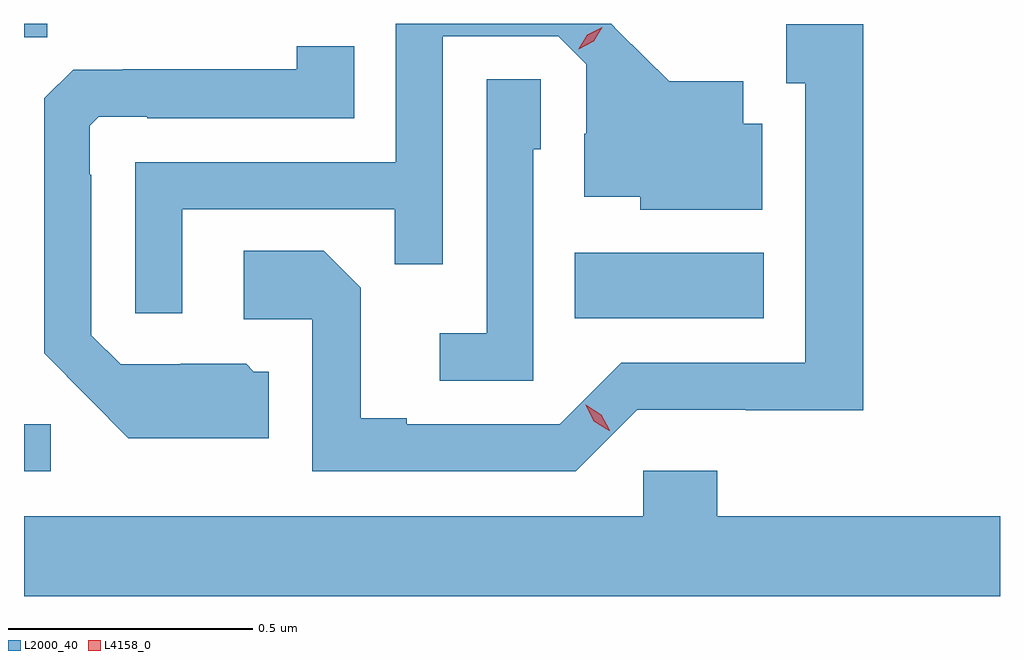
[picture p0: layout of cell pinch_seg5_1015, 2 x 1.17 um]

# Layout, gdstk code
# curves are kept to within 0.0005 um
import gdstk
lib = gdstk.Library(unit=1e-6, precision=1e-09)
def R(c, l, rs):  # rectangles x0, y0, x1, y1
    for r in rs: c.add(gdstk.rectangle(r[:2], r[2:], *l))
def P(c, l, *ps):  # polygons
    for p in ps: c.add(gdstk.Polygon(p, *l))
L2000_40 = (2000, 40)
L4158_0 = (4158, 0)

pinch_seg5_1015 = lib.new_cell('pinch_seg5_1015')
R(pinch_seg5_1015, L2000_40, [(733.419,896.976,733.474,897.072), (734.548,897.29,734.935,897.424), (733.419,897.865,733.467,897.893)])
P(pinch_seg5_1015, L2000_40, [(733.743,897.513),(734.179,897.513),(734.179,897.4),(734.277,897.4),(734.277,897.867),(734.514,897.867),(734.571,897.81),(734.571,897.668),(734.567,897.668),(734.567,897.539),(734.682,897.539),(734.682,897.512),(734.932,897.512),(734.932,897.688),(734.893,897.688),(734.893,897.775),(734.741,897.775),(734.622,897.893),(734.181,897.893),(734.181,897.609),(733.647,897.609),(733.647,897.3),(733.743,897.3)],
  [(734.676,897.102),(734.898,897.102),(734.898,897.101),(735.139,897.101),(735.139,897.892),(734.981,897.892),(734.981,897.771),(735.02,897.771),(735.02,897.198),(734.643,897.198),(734.517,897.072),(734.203,897.072),(734.203,897.085),(734.109,897.085),(734.109,897.352),(734.033,897.428),(733.869,897.428),(733.869,897.288),(734.01,897.288),(734.01,896.976),(734.55,896.976)],
  [(733.921,897.18),(733.89,897.18),(733.874,897.196),(733.74,897.196),(733.74,897.195),(733.617,897.195),(733.557,897.255),(733.557,897.584),(733.554,897.584),(733.554,897.684),(733.572,897.702),(733.672,897.702),(733.672,897.699),(734.096,897.699),(734.096,897.847),(733.978,897.847),(733.978,897.8),(733.621,897.8),(733.621,897.799),(733.52,897.799),(733.461,897.74),(733.461,897.218),(733.633,897.044),(733.921,897.044)],
  [(734.463,897.636),(734.478,897.636),(734.478,897.779),(734.367,897.779),(734.367,897.259),(734.271,897.259),(734.271,897.162),(734.463,897.162)],
  [(735.419,896.884),(734.84,896.884),(734.84,896.977),(734.688,896.977),(734.688,896.884),(733.419,896.884),(733.419,896.72),(735.419,896.72)])
P(pinch_seg5_1015, L4158_0, [(734.618,897.059),(734.587,897.079),(734.57,897.111),(734.57,897.112),(734.57,897.112),(734.602,897.092),(734.619,897.06),(734.619,897.059)],
  [(734.556,897.841),(734.556,897.842),(734.573,897.871),(734.604,897.886),(734.604,897.886),(734.604,897.886),(734.587,897.857),(734.556,897.841)])

lib.write_gds('pinch_seg5_1015.gds')
